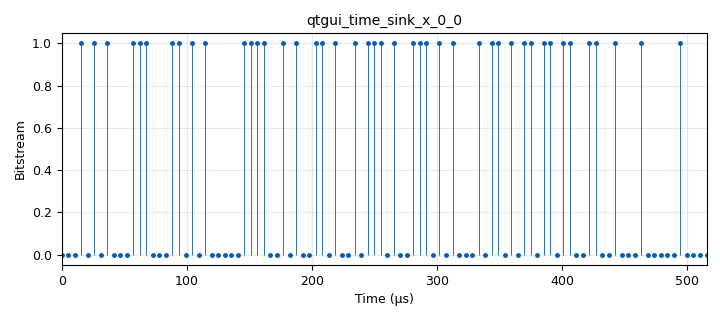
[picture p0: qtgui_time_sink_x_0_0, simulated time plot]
options:
  parameters:
    generate_options: qt_gui
    id: endurosat_e2e
    output_language: python
    title: Not titled yet
  states: {}

blocks:
- name: baud_bit
  id: variable
  parameters:
    value: '19200'
  states: {}
- name: baud_byte
  id: variable
  parameters:
    value: baud_bit/8
  states: {}
- name: center_freq
  id: variable
  parameters:
    value: '435000000'
  states: {}
- name: fec_rate
  id: variable
  parameters:
    value: 1/2
  states: {}
- name: fsk_dev
  id: variable
  parameters:
    value: '4800'
  states: {}
- name: interval_ms
  id: variable
  parameters:
    value: '1000'
  states: {}
- name: max_pipe_payload_len
  id: variable
  parameters:
    value: '128'
  states: {}
- name: mpdu_header_len
  id: variable
  parameters:
    value: 3*3
  states: {}
- name: mpdu_payload_len
  id: variable
  parameters:
    value: max_pipe_payload_len- mpdu_header_len
  states: {}
- name: rx_gain
  id: variable
  parameters:
    value: '20'
  states: {}
- name: sensitivity
  id: variable
  parameters:
    value: 2*np.math.pi*(fsk_dev/(baud_bit*spsym))
  states: {}
- name: spsym
  id: variable
  parameters:
    value: '100'
  states: {}
- name: tx_gain
  id: variable
  parameters:
    value: '0.8'
  states: {}
- name: blocks_float_to_uchar_0
  id: blocks_float_to_uchar
  parameters: {}
  states: {state: disabled}
- name: blocks_message_debug_0
  id: blocks_message_debug
  parameters: {}
  states: {}
- name: blocks_message_debug_0_0
  id: blocks_message_debug
  parameters: {}
  states: {}
- name: blocks_message_strobe_0
  id: blocks_message_strobe
  parameters:
    msg: pmt.cons(pmt.make_dict(), pmt.init_u8vector(10, (1,2,3,4,5,6,7,8,9,10)))
    period: interval_ms
  states: {}
- name: blocks_pack_k_bits_bb_0
  id: blocks_pack_k_bits_bb
  parameters:
    k: '8'
  states: {state: bypassed}
- name: blocks_socket_pdu_0
  id: blocks_socket_pdu
  parameters:
    host: 127.0.0.1
    mtu: '10000'
    port: '4321'
    tcp_no_delay: 'False'
    type: TCP_CLIENT
  states: {state: disabled}
- name: blocks_throttle2_0
  id: blocks_throttle2
  parameters:
    samples_per_second: baud_bit
    type: byte
  states: {}
- name: blocks_uchar_to_float_0
  id: blocks_uchar_to_float
  parameters: {}
  states: {state: disabled}
- name: blocks_uchar_to_float_0_0
  id: blocks_uchar_to_float
  parameters: {}
  states: {}
- name: blocks_uchar_to_float_0_0_1
  id: blocks_uchar_to_float
  parameters: {}
  states: {state: disabled}
- name: blocks_unpack_k_bits_bb_0
  id: blocks_unpack_k_bits_bb
  parameters:
    k: '8'
  states: {state: disabled}
- name: digital_gfsk_demod_0
  id: digital_gfsk_demod
  parameters:
    freq_error: '0.0'
    gain_mu: '0.175'
    mu: '0.5'
    omega_relative_limit: '0.005'
    samples_per_symbol: spsym
    sensitivity: sensitivity
  states: {}
- name: digital_gfsk_mod_0_0
  id: digital_gfsk_mod
  parameters:
    bt: '0.5'
    samples_per_symbol: spsym
    sensitivity: sensitivity
  states: {}
- name: epy_block_0
  id: epy_block
  parameters:
    _source_code: |
      """
      Embedded Python Block
      """

      import numpy as np
      from gnuradio import gr
      import pmt

      class blk(gr.sync_block):
          """Packet Format"""

          def __init__(self):
              gr.sync_block.__init__(self,
                  name = "Packet Format",
                  in_sig = None,
                  out_sig = None)
              self.message_port_register_in(pmt.intern('pdu_in'))
              self.message_port_register_out(pmt.intern('pdu_out'))
              self.set_msg_handler(pmt.intern('pdu_in'), self.handle_msg)

          def handle_msg(self, msg):
              inMsg = pmt.to_python (msg)
              pld = inMsg[1]
              #print (pld)
              mLen = len(pld)
              #print (mLen)
              if (mLen > 0):
                  # 10 preamble bytes, 4 access code bytes
                  char_list = [0xAA,0xAA,0xAA,0xAA,0xAA,0x7E]
                  char_list.append (mLen & 255)
                  char_list.extend (pld)
                  print (char_list)
                  out_len = len(char_list)
                  # print (out_len)
                  self.message_port_pub(pmt.intern('pdu_out'), pmt.cons(pmt.PMT_NIL,pmt.init_u8vector(out_len,(char_list))))
  states: {}
- name: import_0_0
  id: import
  parameters:
    imports: import numpy as np
  states: {}
- name: pdu_pdu_to_tagged_stream_0
  id: pdu_pdu_to_tagged_stream
  parameters:
    tag: packet_len
    type: byte
  states: {}
- name: pdu_random_pdu_0
  id: pdu_random_pdu
  parameters:
    length_modulo: '1'
    mask: '0xFF'
    maxsize: int(np.floor(mpdu_payload_len*fec_rate))
    minsize: int(np.floor(mpdu_payload_len*fec_rate))
  states: {}
- name: qtgui_time_sink_x_0_0
  id: qtgui_time_sink_x
  parameters:
    autoscale: 'True'
    entags: 'False'
    size: int(100)
    srate: baud_bit*10
    stemplot: 'True'
    type: float
    update_time: '0.5'
    ylabel: Bitstream
    ymax: '1.5'
    ymin: '-0.5'
  states: {}
- name: satellites_ax25_deframer_0
  id: satellites_ax25_deframer
  parameters:
    g3ruh_scrambler: 'True'
  states: {state: disabled}
- name: satellites_sync_to_pdu_packed_0_0
  id: satellites_sync_to_pdu_packed
  parameters:
    packlen: int(np.floor(mpdu_payload_len*fec_rate))
    sync: '''0111111000111011'''
    threshold: '0'
  states: {}

connections:
- [blocks_float_to_uchar_0, '0', blocks_throttle2_0, '0']
- [blocks_message_strobe_0, strobe, pdu_random_pdu_0, generate]
- [blocks_pack_k_bits_bb_0, '0', blocks_uchar_to_float_0_0, '0']
- [blocks_throttle2_0, '0', blocks_unpack_k_bits_bb_0, '0']
- [blocks_throttle2_0, '0', digital_gfsk_mod_0_0, '0']
- [blocks_uchar_to_float_0, '0', blocks_float_to_uchar_0, '0']
- [blocks_uchar_to_float_0_0, '0', qtgui_time_sink_x_0_0, '0']
- [blocks_uchar_to_float_0_0_1, '0', satellites_ax25_deframer_0, '0']
- [blocks_unpack_k_bits_bb_0, '0', satellites_sync_to_pdu_packed_0_0, '0']
- [digital_gfsk_demod_0, '0', blocks_pack_k_bits_bb_0, '0']
- [digital_gfsk_demod_0, '0', blocks_uchar_to_float_0_0_1, '0']
- [digital_gfsk_demod_0, '0', satellites_sync_to_pdu_packed_0_0, '0']
- [digital_gfsk_mod_0_0, '0', digital_gfsk_demod_0, '0']
- [epy_block_0, pdu_out, blocks_message_debug_0_0, print]
- [epy_block_0, pdu_out, pdu_pdu_to_tagged_stream_0, pdus]
- [pdu_pdu_to_tagged_stream_0, '0', blocks_throttle2_0, '0']
- [pdu_pdu_to_tagged_stream_0, '0', blocks_uchar_to_float_0, '0']
- [pdu_random_pdu_0, pdus, epy_block_0, pdu_in]
- [satellites_sync_to_pdu_packed_0_0, out, blocks_message_debug_0, print]
- [satellites_sync_to_pdu_packed_0_0, out, blocks_socket_pdu_0, pdus]

metadata:
  file_format: 1
  grc_version: 3.10.6.0
